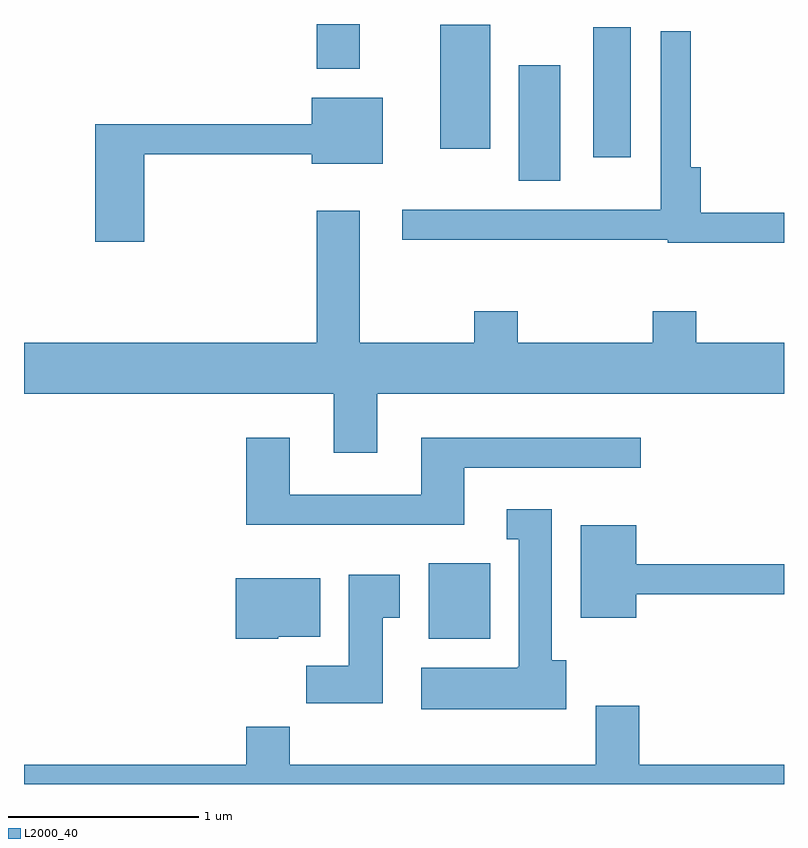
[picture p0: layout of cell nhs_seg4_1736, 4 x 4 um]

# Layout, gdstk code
import gdstk
lib = gdstk.Library(unit=1e-6, precision=1e-09)
def R(c, l, rs):  # rectangles x0, y0, x1, y1
    for r in rs: c.add(gdstk.rectangle(r[:2], r[2:], *l))
def P(c, l, *ps):  # polygons
    for p in ps: c.add(gdstk.Polygon(p, *l))
L2000_40 = (2000, 40)

nhs_seg4_1736 = lib.new_cell('nhs_seg4_1736')
R(nhs_seg4_1736, L2000_40, [(237.741,1326.746,238.064,1327.144), (238.216,1329.156,238.434,1329.764), (238.606,1329.281,238.804,1329.964), (237.801,1329.326,238.064,1329.979), (237.151,1329.746,237.379,1329.982)])
P(nhs_seg4_1736, L2000_40, [(239.611,1328.989),(239.174,1328.989),(239.174,1329.229),(239.119,1329.229),(239.119,1329.943),(238.961,1329.943),(238.961,1329.004),(237.603,1329.004),(237.603,1328.846),(239,1328.846),(239,1328.831),(239.611,1328.831)],
  [(236.244,1329.296),(237.126,1329.296),(237.126,1329.246),(237.499,1329.246),(237.499,1329.594),(237.126,1329.594),(237.126,1329.454),(235.986,1329.454),(235.986,1328.836),(236.244,1328.836)],
  [(237.469,1328.036),(239.611,1328.036),(239.611,1328.304),(239.149,1328.304),(239.149,1328.469),(238.921,1328.469),(238.921,1328.304),(238.209,1328.304),(238.209,1328.469),(237.981,1328.469),(237.981,1328.304),(237.379,1328.304),(237.379,1328.999),(237.151,1328.999),(237.151,1328.304),(235.611,1328.304),(235.611,1328.036),(237.241,1328.036),(237.241,1327.726),(237.469,1327.726)],
  [(237.929,1327.646),(238.858,1327.646),(238.858,1327.804),(237.701,1327.804),(237.701,1327.504),(237.009,1327.504),(237.009,1327.804),(236.781,1327.804),(236.781,1327.346),(237.929,1327.346)],
  [(238.464,1326.634),(238.389,1326.634),(238.389,1327.429),(238.153,1327.429),(238.153,1327.271),(238.216,1327.271),(238.216,1326.6),(238.21,1326.6),(238.21,1326.594),(237.701,1326.594),(237.701,1326.376),(238.464,1326.376)],
  [(238.834,1326.981),(239.611,1326.981),(239.611,1327.139),(238.834,1327.139),(238.834,1327.344),(238.541,1327.344),(238.541,1326.856),(238.834,1326.856)],
  [(237.499,1326.856),(237.589,1326.856),(237.589,1327.084),(237.321,1327.084),(237.321,1326.604),(237.096,1326.604),(237.096,1326.406),(237.499,1326.406)],
  [(236.95,1326.756),(237.169,1326.756),(237.169,1327.064),(236.726,1327.064),(236.726,1326.746),(236.95,1326.746)],
  [(239.611,1326.084),(238.849,1326.084),(238.849,1326.394),(238.621,1326.394),(238.621,1326.084),(237.009,1326.084),(237.009,1326.284),(236.781,1326.284),(236.781,1326.084),(235.611,1326.084),(235.611,1325.982),(239.611,1325.982)])

lib.write_gds('nhs_seg4_1736.gds')
